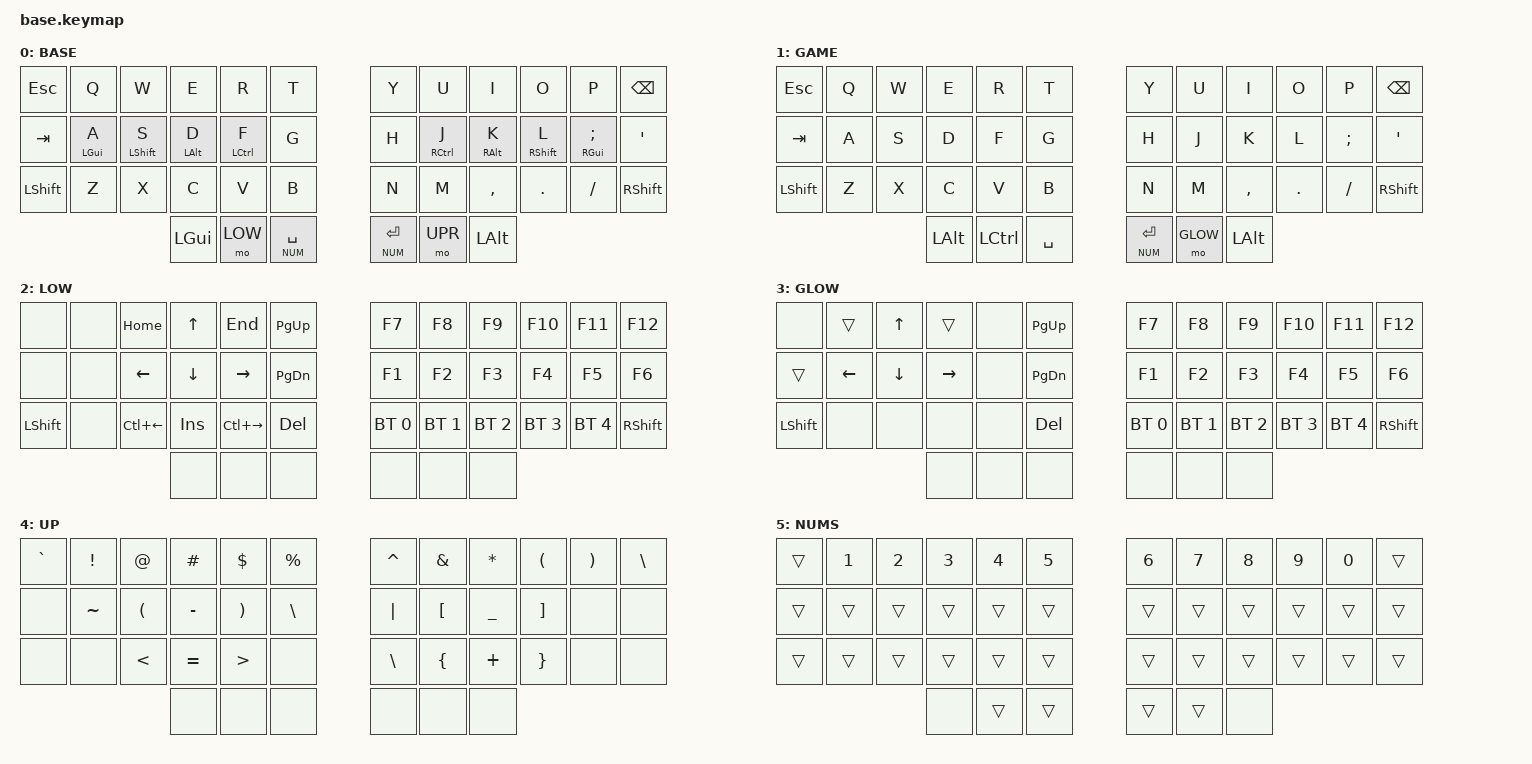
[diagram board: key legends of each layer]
/*
 * Copyright (c) 2020 The ZMK Contributors
 *
 * SPDX-License-Identifier: MIT
 */

#include <behaviors.dtsi>
#include <dt-bindings/zmk/keys.h>
#include <dt-bindings/zmk/bt.h>
#include <dt-bindings/zmk/ext_power.h>
#include <behaviors/num_word.dtsi>
#include "zmk-helpers/helper.h"

#define DEF 0
#define GAME 1
#define LOW 2
#define GLOW 3
#define UPR 4
#define NUM 5


// COMBOS
// ╭──────┬──────┬──────┬──────┬──────┬──────╮  ╭──────┬──────┬──────┬──────┬──────┬──────╮
//    00     01     02     03    04      05        06     07     08     09     10     11
// ├──────┼──────┼──────┼──────┼──────┼──────┤  ├──────┼──────┼──────┼──────┼──────┼──────┤
//    12     13     14     15    16      17        18     19     20     21     22     23
// ├──────┼──────┼──────┼──────┼──────┼──────┤  ├──────┼──────┼──────┼──────┼──────┼──────┤
//    24     25     26     27    28      29        30     31     32     33     34     35
// ╰──────┴──────┴──────┼──────┼──────┼──────┤  ├──────┼──────┼──────┴──────┴──────┴──────╯
//                         36     37     38        39     40
//                      ╰──────┴──────┴──────╯  ╰──────┴──────╯

/ {
    macros {
        macros_alt_shift: alt_shift {
            compatible = "zmk,behavior-macro";
            #binding-cells = <0>;
            bindings
                = <&macro_press &kp LALT>
                , <&macro_tap &kp LSHFT>
                , <&macro_release &kp LALT>
                ;
        };
        macros_control_v: control_v {
            compatible = "zmk,behavior-macro";
            #binding-cells = <0>;
            bindings
                = <&macro_press &kp LCTRL>
                , <&macro_tap &kp V>
                , <&macro_release &kp LCTRL>
                ;
        };
    };
};

/ {
    combos {
        compatible = "zmk,combos";
        // togle game layer by pressing ESC and BCKSPC
        combo_togle_game_layer {
            timeout-ms = <50>;
            key-positions = <0 11>;
            bindings = <&tog GAME>;
            layers = <DEF GAME>;
        };
        // enable numbers layers
        combo_enable_num_layer {
            timeout-ms = <50>;
            key-positions = <37 40>;
            bindings = <&num_word NUM>;
            layers = <0>;
        };
        // reset bluetooth settings
        combo_reset_bluetooth {
            timeout-ms = <50>;
            key-positions = <30 34>;
            bindings = <&bt BT_CLR>;
            layers = <1>;
        };
        // switch language
        combo_switch_language {
            timeout-ms = <200>;
            key-positions = <36 24>;
            bindings = <&macros_alt_shift>;
            layers = <0>;
        };
        // paste combo
        combo_paste {
            timeout-ms = <50>;
            key-positions = <16 28>;
            bindings = <&macros_control_v>;
            layers = <0>;
        };
    };
};

&lt {
    tapping-term-ms = <200>;
};

/ {
    behaviors {
        hm: homerow_mods {
            compatible = "zmk,behavior-hold-tap";
            #binding-cells = <2>;
            tapping-term-ms = <230>;    // <---[[moderate duration]] changed from 200
            quick-tap-ms = <0>;
            flavor = "balanced";
            bindings = <&kp>, <&kp>;
        };
        morph_alt_shift: morph_alt_shift {
            compatible = "zmk,behavior-mod-morph";
            #binding-cells = <0>;
            bindings = <&kp LSHFT>, <&macros_alt_shift>;
            mods = <(MOD_LGUI)>;
        };
    };

// todo: configure sticky layers to nums. if layer is enabled let it be until another key besides numbers are pressed

    keymap {      
        compatible = "zmk,keymap";
        
        default_layer {
            display-name = "BASE";
// -----------------------------------------------------------------------------------------
// |  ESC |  Q  |  W  |  E  |  R  |  T  |      |  Y  |  U   |  I  |  O  |  P  | BSPC |
// |  TAB |  A  |  S  |  D  |  F  |  G  |      |  H  |  J   |  K  |  L  |  ;  |  '   |
// | SHFT |  Z  |  X  |  C  |  V  |  B  |      |  N  |  M   |  ,  |  .  |  /  | SHTT |
//                    | GUI | LWR | SPC |      | ENT | RSE  | ALT |
            bindings = <
   &kp ESC   &kp Q        &kp W        &kp E            &kp R           &kp T           &kp Y           &kp U       &kp I         &kp O        &kp P          &kp BSPC
   &kp TAB   &hm LGUI A   &hm LSHIFT S &hm LALT D       &hm LCTRL F     &kp G           &kp H           &hm RCTL J  &hm RALT K    &hm RSHIFT L &hm RGUI SEMI  &kp SQT
   &kp LSHFT &kp Z        &kp X        &kp C            &kp V           &kp B           &kp N           &kp M       &kp COMMA     &kp DOT      &kp FSLH       &kp RSHFT
                                       &kp LGUI         &mo LOW         &lt NUM SPACE   &lt NUM RET     &mo UPR     &kp LALT
            >;
        };

        game_layer {
            display-name = "GAME";
// -----------------------------------------------------------------------------------------
// |  ESC |  Q  |  W  |  E  |  R  |  T  |      |  Y  |  U   |  I  |  O  |  P  | BSPC |
// |  TAB |  A  |  S  |  D  |  F  |  G  |      |  H  |  J   |  K  |  L  |  ;  |  '   |
// | SHFT |  Z  |  X  |  C  |  V  |  B  |      |  N  |  M   |  ,  |  .  |  /  | SHTT |
//                    | CTRL| LWR | SPC |      | ENT | RSE  | ALT |
            bindings = <
   &kp ESC   &kp Q      &kp W       &kp E       &kp R       &kp T               &kp Y       &kp U       &kp I       &kp O       &kp P       &kp BSPC
   &kp TAB   &kp A      &kp S       &kp D       &kp F       &kp G               &kp H       &kp J       &kp K       &kp L       &kp SEMI    &kp SQT
   &kp LSHFT &kp Z      &kp X       &kp C       &kp V       &kp B               &kp N       &kp M       &kp COMMA   &kp DOT     &kp FSLH    &kp RSHFT
                                    &kp LALT    &kp LCTRL   &kp SPACE           &lt NUM RET &mo GLOW    &kp LALT
            >;
        };

        lower_layer {
            display-name = "LOW";
// -----------------------------------------------------------------------------------------
// |      | PSCR| HOME|  UP | END |PG_UP|      | BT0 | BT1 | BT2 | BT3 | BT4 | BTCLR|
// |      |     | LFT | DWN | RGT |PG_DN|      |  F1 | F2  | F3  | F4  | F5  | F6   |
// |EP_TOG|     | C+LF| INS | C+RT| DEL |      |  F7 | F8  | F9  | F10 | F11 | F12  |
//                    |     |     | SPC |      | ENT |     | ALT |
            bindings = <
   &none        &none        &kp HOME       &kp UP       &kp END       &kp PG_UP        &kp F7          &kp F8          &kp F9       &kp F10      &kp F11      &kp F12
   &none        &none        &kp LEFT       &kp DOWN     &kp RIGHT     &kp PG_DN        &kp F1          &kp F2          &kp F3       &kp F4       &kp F5       &kp F6
   &kp LSHFT    &none        &kp LC(LEFT)   &kp INS      &kp LC(RIGHT) &kp DELETE       &bt BT_SEL 0    &bt BT_SEL 1    &bt BT_SEL 2 &bt BT_SEL 3 &bt BT_SEL 4 &kp RSHFT 
                                            &none        &none         &none            &none           &none           &none     
            >;
        };

        lower_layer_game {
            display-name = "GLOW";
            bindings = <
   &none        &trans        &kp UP         &trans        &none          &kp PG_UP        &kp F7          &kp F8          &kp F9       &kp F10      &kp F11      &kp F12
   &trans        &kp LEFT      &kp DOWN       &kp RIGHT    &none          &kp PG_DN        &kp F1          &kp F2          &kp F3       &kp F4       &kp F5       &kp F6
   &kp LSHFT    &none        &none          &none        &none          &kp DELETE       &bt BT_SEL 0    &bt BT_SEL 1    &bt BT_SEL 2 &bt BT_SEL 3 &bt BT_SEL 4 &kp RSHFT 
                                            &none        &none          &none            &none           &none           &none     
            >;
        };

        raise_layer {
            display-name = "UP";
// -----------------------------------------------------------------------------------------
// |    `  |  !  |  @  |  #  |  $  |  %  |   |  ^  |  &  |  *  |  (  |  )  |  \   |
// |        |  ~  |  (  |  -  |  )  |  \  |   | "|" |  [  |  _  |  ]  |     |      |
// |        |     |  <  |  =  |  >  |     |   |  \  |  {  |  +  |  }  |     |      |
//                      |     |     |     |   |     |     |     |
            bindings = <
    &kp GRAVE   &kp EXCL    &kp AT      &kp HASH    &kp DLLR  &kp PRCNT         &kp CARET   &kp AMPS  &kp ASTRK  &kp LPAR  &kp RPAR  &kp BSLH
    &none       &kp TILDE   &kp LPAR    &kp MINUS   &kp RPAR  &kp BSLH          &kp PIPE    &kp LBKT  &kp UNDER  &kp RBKT  &none     &none
    &none       &none       &kp LT      &kp EQUAL   &kp GT    &none             &kp BSLH    &kp LBRC  &kp PLUS   &kp RBRC  &none     &none
                                        &none       &none     &none             &none       &none     &none
            >;
        };

        nums_layer {
            display-name = "NUMS";    // see https://zmk.dev/docs/config/keymap#devicetree
// -----------------------------------------------------------------------------------------
// |        |  1  |  2  |  3  |  4  |  5  |   |  6  |  7  |  8  |  9  |  0  |      |
// |        |     |     |     |     |     |   |     |     |     |     |     |      |
// |        |     |     |     |     |     |   |     |     |     |     |     |      |
//                      |     |     |     |   |     |     |     |
            bindings = <
   &trans   &kp N1      &kp N2      &kp N3      &kp N4      &kp N5      &kp N6      &kp N7      &kp N8    &kp N9  &kp N0    &trans
   &trans   &trans      &trans      &trans      &trans      &trans      &trans      &trans      &trans    &trans  &trans    &trans
   &trans   &trans      &trans      &trans      &trans      &trans      &trans      &trans      &trans    &trans  &trans    &trans
                                    &none       &trans      &trans      &trans      &trans      &none
            >;
        };

    };
};
